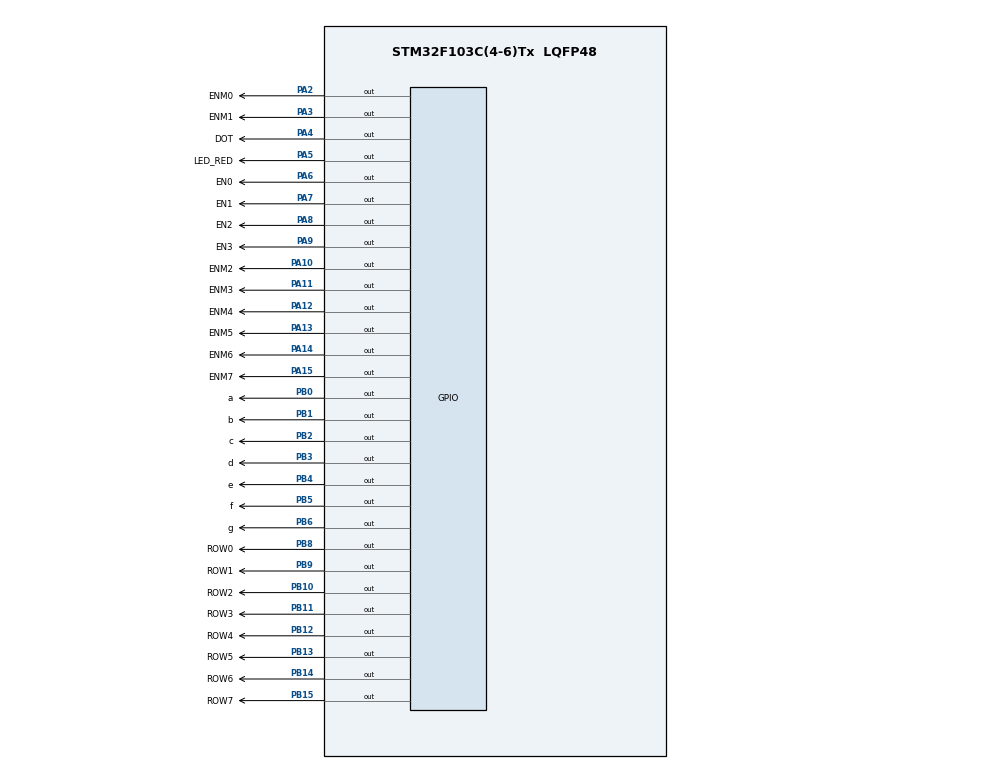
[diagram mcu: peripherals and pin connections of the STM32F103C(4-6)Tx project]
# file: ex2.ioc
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Mcu.Family=STM32F1
Mcu.Name=STM32F103C(4-6)Tx
Mcu.Package=LQFP48
NVIC.PriorityGroup=NVIC_PRIORITYGROUP_4
NVIC.TIM2_IRQn=true\:0\:0\:false\:false\:true\:true\:true
PA10.GPIO_Label=ENM2
PA10.Signal=GPIO_Output
PA11.GPIO_Label=ENM3
PA11.Signal=GPIO_Output
PA12.GPIO_Label=ENM4
PA12.Signal=GPIO_Output
PA13.GPIO_Label=ENM5
PA13.Signal=GPIO_Output
PA14.GPIO_Label=ENM6
PA14.Signal=GPIO_Output
PA15.GPIO_Label=ENM7
PA15.Signal=GPIO_Output
PA2.GPIO_Label=ENM0
PA2.Signal=GPIO_Output
PA3.GPIO_Label=ENM1
PA3.Signal=GPIO_Output
PA4.GPIO_Label=DOT
PA4.Signal=GPIO_Output
PA5.GPIO_Label=LED_RED
PA5.Signal=GPIO_Output
PA6.GPIO_Label=EN0
PA6.Signal=GPIO_Output
PA7.GPIO_Label=EN1
PA7.Signal=GPIO_Output
PA8.GPIO_Label=EN2
PA8.Signal=GPIO_Output
PA9.GPIO_Label=EN3
PA9.Signal=GPIO_Output
PB0.GPIO_Label=a
PB0.Signal=GPIO_Output
PB1.GPIO_Label=b
PB1.Signal=GPIO_Output
PB10.GPIO_Label=ROW2
PB10.Signal=GPIO_Output
PB11.GPIO_Label=ROW3
PB11.Signal=GPIO_Output
PB12.GPIO_Label=ROW4
PB12.Signal=GPIO_Output
PB13.GPIO_Label=ROW5
PB13.Signal=GPIO_Output
PB14.GPIO_Label=ROW6
PB14.Signal=GPIO_Output
PB15.GPIO_Label=ROW7
PB15.Signal=GPIO_Output
PB2.GPIO_Label=c
PB2.Signal=GPIO_Output
PB3.GPIO_Label=d
PB3.Signal=GPIO_Output
PB4.GPIO_Label=e
PB4.Signal=GPIO_Output
PB5.GPIO_Label=f
PB5.Signal=GPIO_Output
PB6.GPIO_Label=g
PB6.Signal=GPIO_Output
PB8.GPIO_Label=ROW0
PB8.Signal=GPIO_Output
PB9.GPIO_Label=ROW1
PB9.Signal=GPIO_Output
ProjectManager.HeapSize=0x200
ProjectManager.StackSize=0x400
ProjectManager.TargetToolchain=STM32CubeIDE
RCC.APB1Freq_Value=8000000
RCC.APB2Freq_Value=8000000
TIM2.Period=9
TIM2.Prescaler=7999
VP_SYS_VS_ND.Mode=No_Debug
VP_TIM2_VS_ClockSourceINT.Mode=Internal
board=custom

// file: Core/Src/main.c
/* USER CODE BEGIN Header */
/**
  ******************************************************************************
  * @file           : main.c
  * @brief          : Main program body
  ******************************************************************************
  */
/* USER CODE END Header */
#include "main.h"

TIM_HandleTypeDef htim2;

/* USER CODE BEGIN PV */
// Các biến toàn cục
const int MAX_LED_7SEG = 4;
int hour = 15, minute = 8, second = 50;
int index_led_7seg = 0;
int led_buffer[4] = {0, 0, 0, 0};

// Chu kỳ ngắt phần cứng (10ms)
int TIMER_CYCLE = 10;

// Software Timer 0 (cho tác vụ 1 giây: đồng hồ, DOT)
int timer0_counter = 0;
int timer0_flag = 0;

// Software Timer 1 (cho tác vụ 0.5 giây: LED RED)
int timer1_counter = 0;
int timer1_flag = 0;

// Software Timer 2 (cho việc quét LED 7 đoạn)
int timer2_counter = 0;
int timer2_flag = 0;
/* USER CODE END PV */

void SystemClock_Config(void);
static void MX_GPIO_Init(void);
static void MX_TIM2_Init(void);
/* USER CODE BEGIN PFP */
void display7SEG(int num);
void update7SEG(int index);
void updateClockBuffer(void);

// SỬA: Thêm đầy đủ khai báo cho các software timer
void setTimer0(int duration);
void timer0_run(void);
void setTimer1(int duration);
void timer1_run(void);
void setTimer2(int duration);
void timer2_run(void);
/* USER CODE END PFP */

int main(void)
{
  /* MCU Configuration--------------------------------------------------------*/
  HAL_Init();
  SystemClock_Config();
  MX_GPIO_Init();
  MX_TIM2_Init();

  /* USER CODE BEGIN 2 */
  HAL_TIM_Base_Start_IT(&htim2);
  updateClockBuffer();

  setTimer0(1000); // Timer 0: Đồng hồ và DOT
  setTimer1(500);  // Timer 1: LED RED
  setTimer2(250);  // Timer 2: Quét LED 7 đoạn
  /* USER CODE END 2 */

  /* Infinite loop */
  /* USER CODE BEGIN WHILE */
  while (1)
  {
    // Tác vụ 1 giây: Cập nhật đồng hồ và nháy đèn DOT
    if(timer0_flag == 1){
        second++;
        if (second >= 60) { second = 0; minute++; }
        if (minute >= 60) { minute = 0; hour++; }
        if (hour >= 24) { hour = 0; }
        updateClockBuffer();

        HAL_GPIO_TogglePin(DOT_GPIO_Port, DOT_Pin);

        setTimer0(1000);
    }

    // Tác vụ 0.5 giây: Nháy đèn LED RED
    if(timer1_flag == 1){
        HAL_GPIO_TogglePin(LED_RED_GPIO_Port, LED_RED_Pin);
        setTimer1(500);
    }

    // Tác vụ 0.25 giây: Quét LED 7 đoạn
    if(timer2_flag == 1){
        update7SEG(index_led_7seg++);
        if(index_led_7seg >= MAX_LED_7SEG) {
            index_led_7seg = 0;
        }
        setTimer2(250);
    }
    /* USER CODE END WHILE */

  }
}

void SystemClock_Config(void)
{
  RCC_OscInitTypeDef RCC_OscInitStruct = {0};
  RCC_ClkInitTypeDef RCC_ClkInitStruct = {0};

  /** Initializes the RCC Oscillators according to the specified parameters
  * in the RCC_OscInitTypeDef structure.
  */
  RCC_OscInitStruct.OscillatorType = RCC_OSCILLATORTYPE_HSI;
  RCC_OscInitStruct.HSIState = RCC_HSI_ON;
  RCC_OscInitStruct.HSICalibrationValue = RCC_HSICALIBRATION_DEFAULT;
  RCC_OscInitStruct.PLL.PLLState = RCC_PLL_NONE;
  if (HAL_RCC_OscConfig(&RCC_OscInitStruct) != HAL_OK)
  {
    Error_Handler();
  }
  /** Initializes the CPU, AHB and APB buses clocks
  */
  RCC_ClkInitStruct.ClockType = RCC_CLOCKTYPE_HCLK|RCC_CLOCKTYPE_SYSCLK
                              |RCC_CLOCKTYPE_PCLK1|RCC_CLOCKTYPE_PCLK2;
  RCC_ClkInitStruct.SYSCLKSource = RCC_SYSCLKSOURCE_HSI;
  RCC_ClkInitStruct.AHBCLKDivider = RCC_SYSCLK_DIV1;
  RCC_ClkInitStruct.APB1CLKDivider = RCC_HCLK_DIV1;
  RCC_ClkInitStruct.APB2CLKDivider = RCC_HCLK_DIV1;

  if (HAL_RCC_ClockConfig(&RCC_ClkInitStruct, FLASH_LATENCY_0) != HAL_OK)
  {
    Error_Handler();
  }
}

static void MX_TIM2_Init(void)
{

  TIM_ClockConfigTypeDef sClockSourceConfig = {0};
  TIM_MasterConfigTypeDef sMasterConfig = {0};

  htim2.Instance = TIM2;
  htim2.Init.Prescaler = 7999;
  htim2.Init.CounterMode = TIM_COUNTERMODE_UP;
  htim2.Init.Period = 9;
  htim2.Init.ClockDivision = TIM_CLOCKDIVISION_DIV1;
  htim2.Init.AutoReloadPreload = TIM_AUTORELOAD_PRELOAD_DISABLE;
  if (HAL_TIM_Base_Init(&htim2) != HAL_OK)
  {
    Error_Handler();
  }
  sClockSourceConfig.ClockSource = TIM_CLOCKSOURCE_INTERNAL;
  if (HAL_TIM_ConfigClockSource(&htim2, &sClockSourceConfig) != HAL_OK)
  {
    Error_Handler();
  }
  sMasterConfig.MasterOutputTrigger = TIM_TRGO_RESET;
  sMasterConfig.MasterSlaveMode = TIM_MASTERSLAVEMODE_DISABLE;
  if (HAL_TIMEx_MasterConfigSynchronization(&htim2, &sMasterConfig) != HAL_OK)
  {
    Error_Handler();
  }
  /* USER CODE BEGIN TIM2_Init 2 */

  /* USER CODE END 2 */

}

static void MX_GPIO_Init(void)
{
  GPIO_InitTypeDef GPIO_InitStruct = {0};

  /* GPIO Ports Clock Enable */
  __HAL_RCC_GPIOA_CLK_ENABLE();
  __HAL_RCC_GPIOB_CLK_ENABLE();

  /*Configure GPIO pin Output Level */
  HAL_GPIO_WritePin(GPIOA, DOT_Pin|LED_RED_Pin|EN0_Pin|EN1_Pin
                          |EN2_Pin|EN3_Pin, GPIO_PIN_RESET);

  /*Configure GPIO pin Output Level */
  HAL_GPIO_WritePin(GPIOB, a_Pin|b_Pin|c_Pin|d_Pin
                          |e_Pin|f_Pin|g_Pin, GPIO_PIN_RESET);

  /*Configure GPIO pins : PA pins */
  GPIO_InitStruct.Pin = DOT_Pin|LED_RED_Pin|EN0_Pin|EN1_Pin
                          |EN2_Pin|EN3_Pin;
  GPIO_InitStruct.Mode = GPIO_MODE_OUTPUT_PP;
  GPIO_InitStruct.Pull = GPIO_NOPULL;
  GPIO_InitStruct.Speed = GPIO_SPEED_FREQ_LOW;
  HAL_GPIO_Init(GPIOA, &GPIO_InitStruct);

  /*Configure GPIO pins : PB pins */
  GPIO_InitStruct.Pin = a_Pin|b_Pin|c_Pin|d_Pin
                          |e_Pin|f_Pin|g_Pin;
  GPIO_InitStruct.Mode = GPIO_MODE_OUTPUT_PP;
  GPIO_InitStruct.Pull = GPIO_NOPULL;
  GPIO_InitStruct.Speed = GPIO_SPEED_FREQ_LOW;
  HAL_GPIO_Init(GPIOB, &GPIO_InitStruct);

}

/* USER CODE BEGIN 4 */

void display7SEG(int num) {
    char seven_seg_code[10] = {0xC0, 0xF9, 0xA4, 0xB0, 0x99, 0x92, 0x82, 0xF8, 0x80, 0x90};
    if (num < 0 || num > 9) return;
    HAL_GPIO_WritePin(a_GPIO_Port, a_Pin, (seven_seg_code[num] >> 0) & 0x01);
    HAL_GPIO_WritePin(b_GPIO_Port, b_Pin, (seven_seg_code[num] >> 1) & 0x01);
    HAL_GPIO_WritePin(c_GPIO_Port, c_Pin, (seven_seg_code[num] >> 2) & 0x01);
    HAL_GPIO_WritePin(d_GPIO_Port, d_Pin, (seven_seg_code[num] >> 3) & 0x01);
    HAL_GPIO_WritePin(e_GPIO_Port, e_Pin, (seven_seg_code[num] >> 4) & 0x01);
    HAL_GPIO_WritePin(f_GPIO_Port, f_Pin, (seven_seg_code[num] >> 5) & 0x01);
    HAL_GPIO_WritePin(g_GPIO_Port, g_Pin, (seven_seg_code[num] >> 6) & 0x01);
}

void update7SEG(int index) {
    display7SEG(led_buffer[index]);

    switch(index) {
        case 0:
            HAL_GPIO_WritePin(GPIOA, EN1_Pin|EN2_Pin|EN3_Pin, GPIO_PIN_SET);
            HAL_GPIO_WritePin(EN0_GPIO_Port, EN0_Pin, GPIO_PIN_RESET);
            break;
        case 1:
            HAL_GPIO_WritePin(GPIOA, EN0_Pin|EN2_Pin|EN3_Pin, GPIO_PIN_SET);
            HAL_GPIO_WritePin(EN1_GPIO_Port, EN1_Pin, GPIO_PIN_RESET);
            break;
        case 2:
            HAL_GPIO_WritePin(GPIOA, EN0_Pin|EN1_Pin|EN3_Pin, GPIO_PIN_SET);
            HAL_GPIO_WritePin(EN2_GPIO_Port, EN2_Pin, GPIO_PIN_RESET);
            break;
        case 3:
            HAL_GPIO_WritePin(GPIOA, EN0_Pin|EN1_Pin|EN2_Pin, GPIO_PIN_SET);
            HAL_GPIO_WritePin(EN3_GPIO_Port, EN3_Pin, GPIO_PIN_RESET);
            break;
    }
}

void updateClockBuffer(void) {
    led_buffer[0] = hour / 10;
    led_buffer[1] = hour % 10;
    led_buffer[2] = minute / 10;
    led_buffer[3] = minute % 10;
}

// SỬA: Tách riêng tất cả các hàm ra đúng vị trí

// Các hàm cho Software Timer 0 (1 giây)
void setTimer0(int duration) {
    timer0_counter = duration / TIMER_CYCLE;
    timer0_flag = 0;
}
void timer0_run(void){
    if (timer0_counter > 0){
        timer0_counter--;
        if (timer0_counter == 0) timer0_flag = 1;
    }
}

// Các hàm cho Software Timer 1 (0.5 giây)
void setTimer1(int duration) {
    timer1_counter = duration / TIMER_CYCLE;
    timer1_flag = 0;
}
void timer1_run(void){
    if (timer1_counter > 0){
        timer1_counter--;
        if (timer1_counter == 0) timer1_flag = 1;
    }
}

// Các hàm cho Software Timer 2
void setTimer2(int duration) {
    timer2_counter = duration / TIMER_CYCLE;
    timer2_flag = 0;
}
void timer2_run(){
    if (timer2_counter > 0){
        timer2_counter--;
        if (timer2_counter == 0) timer2_flag = 1;
    }
}

// Hàm xử lý ngắt Timer
void HAL_TIM_PeriodElapsedCallback(TIM_HandleTypeDef *htim)
{
    if (htim->Instance == TIM2)
    {
        // Gõ nhịp cho cả 3 software timer
        timer0_run();
        timer1_run();
        timer2_run();
    }
}
/* USER CODE END 4 */

void Error_Handler(void)
{
  __disable_irq();
  while (1)
  {
  }
}
